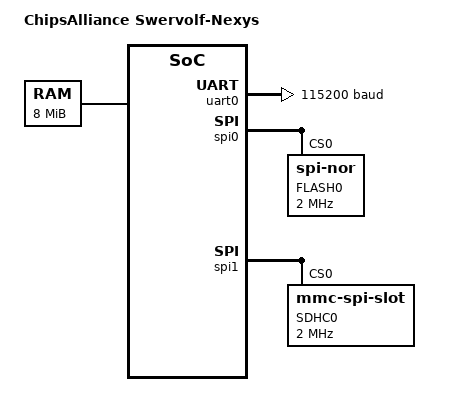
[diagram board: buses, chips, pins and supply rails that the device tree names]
/* SPDX-License-Identifier: Apache-2.0 */

/dts-v1/;

#include <riscv32-swerv.dtsi>

/ {
	model = "ChipsAlliance Swervolf-Nexys";
	compatible = "ChipsAlliance,Swervolf-Nexys";
	aliases {
	};

	chosen {
		zephyr,console = &uart0;
		zephyr,shell-uart = &uart0;
		zephyr,sram = &sram;
	};

	sram: memory@0 {
		compatible = "mmio-sram";
		reg = <0x00000000 0x00800000>;
	};
};


&uart0 {
	status = "okay";
	current-speed = <115200>;
	clock-frequency = <50000000>;
};

&spi0 {
	status = "okay";

	flash0: flash@0 {
		compatible = "jedec,spi-nor";
		label = "FLASH0";
		jedec-id = [01 20 18];
		size = <0x1000000>;
		reg = <0>;
		spi-max-frequency = <2000000>;
	};
};

&spi1 {
	status = "okay";

	sdhc0: sdhc@0 {
		compatible = "zephyr,mmc-spi-slot";
		reg = <0>;
		status = "okay";
		label = "SDHC0";
		spi-max-frequency = <2000000>;
	};
};
